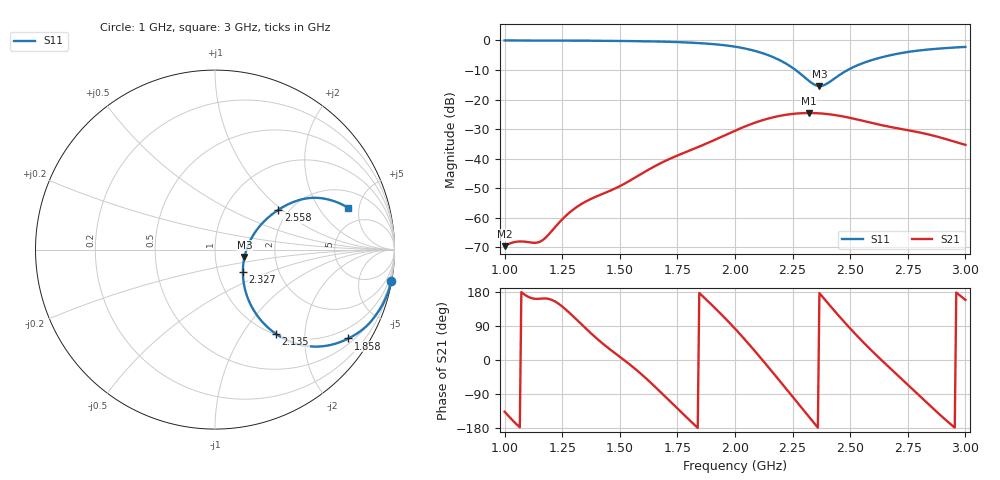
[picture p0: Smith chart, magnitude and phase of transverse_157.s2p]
! TOUCHSTONE file generated by CST MICROWAVE STUDIO
! Date and time: Tue Mar 11 13:57:14 2025
! Project name: transverse.cst
! Parameters = {Fracture=1; B=10; D=160; F=15; Feed=2.85625; L=100; M=10; R=0.384908; S=1; Theta=180; length=57.125; wave=114.25}
! Header version: 2024
! Port assignment regex: !\s*Touchstone port\s*([0-9]+)\s*=\s*(CST MWS port|CST DES external port|CST DES block port)\s*(.+)\s* \(\"(.*)\"\)(\s*mode\s*([0-9]+))?.*
! Touchstone port assignment:
! Touchstone port 1 = CST MWS port 1 ("")
! Touchstone port 2 = CST MWS port 2 ("")
# GHz S MA R 50
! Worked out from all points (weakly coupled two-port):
!   304 points, 1 GHz to 3 GHz, reference 50 ohm
!   highest |S21| = -24.55 dB at 2.32 GHz (marker M1); lowest = -69.6 dB at 1 GHz (marker M2)
!   lowest |S11| = -15.4 dB at 2.366 GHz (marker M3), VSWR 1.41, Z = 69.4 - j5.76 ohm
!   |S11| at or under -10 dB: 2.263 GHz to 2.489 GHz (226.4 MHz wide, 9.53 % of centre)
!   S12 and S22 are empty: the file has one direction only
!   S11 on the Smith chart (normalised r, x): 1 GHz: 0, -11; 1.858 GHz: 0.65, -3.18; 2.135 GHz: 1.01, -1.43; 2.327 GHz: 1.32, -0.34; 2.558 GHz: 1.77, +0.95; 3 GHz: 3.26, +3.83
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1  0.9979 -10.0  0.000332 -136.5  0 0.0  0 0.0
1.05281  0.997 -10.8  0.0003957 -170.3  0 0.0  0 0.0
1.13201  0.9958 -11.9  0.0003783 161.5  0 0.0  0 0.0
1.15842  0.9954 -12.3  0.0004042 162.0  0 0.0  0 0.0
1.27063  0.9923 -14.3  0.001127 130.5  0 0.0  0 0.0
1.33663  0.9893 -15.6  0.001746 92.4  0 0.0  0 0.0
1.50165  0.9787 -19.4  0.003458 7.6  0 0.0  0 0.0
1.66667  0.9571 -24.6  0.008003 -78.6  0 0.0  0 0.0
1.85809  0.8928 -33.7  0.01684 169.3  0 0.0  0 0.0
2.0033  0.7799 -43.9  0.03016 80.6  0 0.0  0 0.0
2.13531  0.5794 -54.1  0.04668 -11.8  0 0.0  0 0.0
2.22772  0.3917 -57.4  0.05575 -80.4  0 0.0  0 0.0
2.32013  0.2082 -41.7  0.05921 -149.4  0 0.0  0 0.0
2.32673  0.1987 -38.6  0.0592 -154.3  0 0.0  0 0.0
2.33993  0.1832 -31.5  0.05908 -164.0  0 0.0  0 0.0
2.36634  0.1691 -13.8  0.05844 176.6  0 0.0  0 0.0
2.39934  0.1858 7.4  0.05694 152.7  0 0.0  0 0.0
2.45875  0.2681 26.4  0.05268 110.9  0 0.0  0 0.0
2.55776  0.4166 32.1  0.04345 46.2  0 0.0  0 0.0
2.66997  0.557 30.1  0.03467 -19.8  0 0.0  0 0.0
2.82178  0.6908 23.8  0.02669 -106.3  0 0.0  0 0.0
3  0.776 17.5  0.01715 158.7  0 0.0  0 0.0
